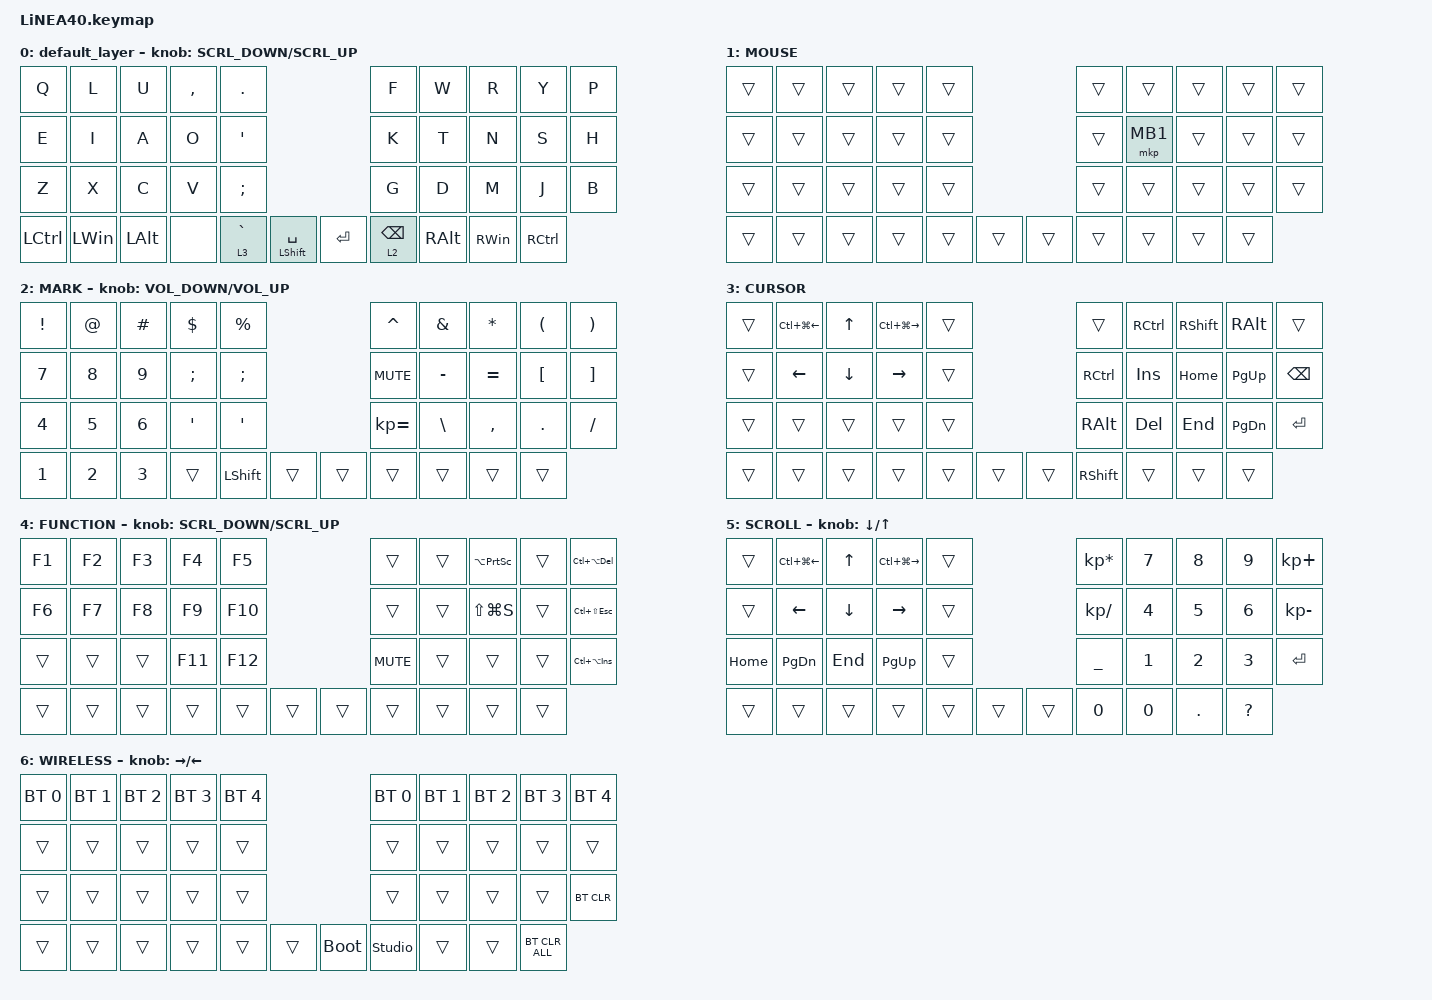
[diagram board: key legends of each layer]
#define ZMK_POINTING_DEFAULT_SCRL_VAL 150

#include <dt-bindings/zmk/input_transform.h>
#include <input/processors.dtsi>
#include <zephyr/dt-bindings/input/input-event-codes.h>
#include <behaviors.dtsi>
#include <dt-bindings/zmk/bt.h>
#include <dt-bindings/zmk/keys.h>
#include <dt-bindings/zmk/pointing.h>

#define MOUSE 1
#define MARK 2
#define CURSOR 3
#define FUNCTION 4
#define SCROLL 5
#define WIRELESS 6

//mouse cursol

&mmv {
    delay-ms = <20>;
    trigger-period-ms = <5>;
    time-to-max-speed-ms = <100>;
    acceleration-exponent = <2>;
};

//mouse scroll

&msc {
    delay-ms = <3>;
    trigger-period-ms = <3>;
    time-to-max-speed-ms = <100>;
    acceleration-exponent = <0>;
};

/ {
    input_processors {
        zip_wheel_scaler: zip_wheel_scaler {
            compatible = "zmk,input-processor-scaler";
            #input-processor-cells = <2>;
            type = <INPUT_EV_REL>;
            codes = <INPUT_REL_WHEEL>;
            track-remainders;
        };
    };
};

&msc_input_listener {
    speed_up {
        layers = <FUNCTION>;
        input-processors = <&zip_wheel_scaler 3 1>; //スクロールを3倍速にする
    };
};

&trackball_listener {
    scroller {
        layers = <SCROLL>;
        input-processors =
            <&zip_xy_transform INPUT_TRANSFORM_Y_INVERT>,
            //スクロール方向を逆転,,,,,,,,
            <&zip_xy_to_scroll_mapper>;
    };
};

/ {
    combos {
        compatible = "zmk,combos";

        DeleteKey {
            bindings = <&kp DEL>;
            key-positions = <7 8>;
        };

        InsertKey {
            bindings = <&kp INS>;
            key-positions = <6 7>;
        };

        CenterClick {
            bindings = <&mkp MB3>;
            key-positions = <17 16>;
        };

        RightClick {
            bindings = <&mkp MB2>;
            key-positions = <18 17>;
        };

        PrevClick {
            bindings = <&mkp MB4>;
            key-positions = <27 28>;
        };

        ClickNext {
            bindings = <&mkp MB5>;
            key-positions = <26 27>;
        };

        escape {
            bindings = <&kp ESCAPE>;
            key-positions = <0 1>;
        };

        tab {
            bindings = <&kp TAB>;
            key-positions = <10 11>;
        };

        lang1 {
            bindings = <&kp LANG1>;
            key-positions = <12 13>;
        };

        lang2 {
            bindings = <&kp LANG2>;
            key-positions = <22 23>;
        };
    };

    behaviors {
        re_kp: sensor_rotate_kp {
            compatible = "zmk,behavior-sensor-rotate-var";
            #sensor-binding-cells = <2>;
            bindings = <&kp>, <&kp>;
        };

        mouse_scrl: mouse_wheel_scrl {
            compatible = "zmk,behavior-sensor-rotate-var";
            #sensor-binding-cells = <2>;
            bindings = <&msc>, <&msc>;

            tap-ms = <20>;
        };
    };

    keymap {
        compatible = "zmk,keymap";

        default_layer {
            bindings = <
&kp Q      &kp L         &kp U         &kp COMMA  &kp PERIOD                                        &kp F            &kp W  &kp R          &kp Y          &kp P
&kp E      &kp I         &kp A         &kp O      &kp SQT                                           &kp K            &kp T  &kp N          &kp S          &kp H
&kp Z      &kp X         &kp C         &kp V      &kp SEMICOLON                                     &kp G            &kp D  &kp M          &kp J          &kp B
&kp LCTRL  &kp LEFT_WIN  &kp LEFT_ALT  &none      &lt 3 GRAVE    &mt LEFT_SHIFT SPACE    &kp ENTER  &lt 2 BACKSPACE         &kp RIGHT_ALT  &kp RIGHT_WIN  &kp RCTRL
            >;

            sensor-bindings = <&mouse_scrl SCRL_DOWN SCRL_UP>;
        };

        //1

        MOUSE {
            bindings = <
&trans  &trans  &trans  &trans  &trans                    &trans  &trans    &trans  &trans  &trans
&trans  &trans  &trans  &trans  &trans                    &trans  &mkp MB1  &trans  &trans  &trans
&trans  &trans  &trans  &trans  &trans                    &trans  &trans    &trans  &trans  &trans
&trans  &trans  &trans  &trans  &trans  &trans    &trans  &trans            &trans  &trans  &trans
            >;
        };

        //2

        MARK {
            bindings = <
&kp EXCLAMATION  &kp AT_SIGN  &kp POUND  &kp DOLLAR     &kp PERCENT                       &kp CARET     &kp AMPERSAND  &kp ASTERISK  &kp LEFT_PARENTHESIS  &kp RIGHT_PARENTHESIS
&kp N7           &kp N8       &kp N9     &kp SEMICOLON  &kp SEMICOLON                     &kp C_MUTE    &kp MINUS      &kp EQUAL     &kp LEFT_BRACKET      &kp RIGHT_BRACKET
&kp N4           &kp N5       &kp N6     &kp APOS       &kp SQT                           &kp KP_EQUAL  &kp BACKSLASH  &kp COMMA     &kp PERIOD            &kp SLASH
&kp NUMBER_1     &kp N2       &kp N3     &trans         &kp LEFT_SHIFT  &trans    &trans  &trans                       &trans        &trans                &trans
            >;

            sensor-bindings = <&re_kp C_VOLUME_DOWN C_VOLUME_UP>;
        };

        //3

        CURSOR {
            bindings = <
&trans  &kp LC(LG(LEFT_ARROW))  &kp UP_ARROW  &kp LC(LG(RIGHT_ARROW))  &trans                    &trans           &kp RCTRL   &kp RIGHT_SHIFT  &kp RIGHT_ALT  &trans
&trans  &kp LEFT_ARROW          &kp DOWN      &kp RIGHT_ARROW          &trans                    &kp RCTRL        &kp INS     &kp HOME         &kp PAGE_UP    &kp BACKSPACE
&trans  &trans                  &trans        &trans                   &trans                    &kp RIGHT_ALT    &kp DELETE  &kp END          &kp PAGE_DOWN  &kp ENTER
&trans  &trans                  &trans        &trans                   &trans  &trans    &trans  &kp RIGHT_SHIFT              &trans           &trans         &trans
            >;
        };

        //4

        FUNCTION {
            bindings = <
&kp F1  &kp F2  &kp F3  &kp F4   &kp F5                     &trans      &trans  &kp LA(PRINTSCREEN)  &trans  &kp LC(LA(DELETE))
&kp F6  &kp F7  &kp F8  &kp F9   &kp F10                    &trans      &trans  &kp LS(LG(S))        &trans  &kp LC(LS(ESCAPE))
&trans  &trans  &trans  &kp F11  &kp F12                    &kp C_MUTE  &trans  &trans               &trans  &kp LC(LA(INS))
&trans  &trans  &trans  &trans   &trans   &trans    &trans  &trans              &trans               &trans  &trans
            >;

            sensor-bindings = <&mouse_scrl SCRL_DOWN SCRL_UP>;
        };

        //5

        SCROLL {
            bindings = <
&trans    &kp LC(LG(LEFT_ARROW))  &kp UP_ARROW  &kp LC(LG(RIGHT_ARROW))  &trans                    &kp KP_MULTIPLY  &kp NUMBER_7  &kp NUMBER_8  &kp NUMBER_9  &kp KP_PLUS
&trans    &kp LEFT_ARROW          &kp DOWN      &kp RIGHT_ARROW          &trans                    &kp KP_SLASH     &kp NUMBER_4  &kp NUMBER_5  &kp NUMBER_6  &kp KP_MINUS
&kp HOME  &kp PAGE_DOWN           &kp END       &kp PAGE_UP              &trans                    &kp UNDER        &kp NUMBER_1  &kp NUMBER_2  &kp NUMBER_3  &kp ENTER
&trans    &trans                  &trans        &trans                   &trans  &trans    &trans  &kp NUMBER_0                   &kp NUMBER_0  &kp DOT       &kp QUESTION
            >;

            sensor-bindings = <&inc_dec_kp DOWN_ARROW UP_ARROW>;
        };

        //6

        WIRELESS {
            bindings = <
&bt BT_SEL 0  &bt BT_SEL 1  &bt BT_SEL 2  &bt BT_SEL 3  &bt BT_SEL 4                         &bt BT_SEL 0    &bt BT_SEL 1  &bt BT_SEL 2  &bt BT_SEL 3  &bt BT_SEL 4
&trans        &trans        &trans        &trans        &trans                               &trans          &trans        &trans        &trans        &trans
&trans        &trans        &trans        &trans        &trans                               &trans          &trans        &trans        &trans        &bt BT_CLR
&trans        &trans        &trans        &trans        &trans        &trans    &bootloader  &studio_unlock                &trans        &trans        &bt BT_CLR_ALL
            >;

            sensor-bindings = <&inc_dec_kp RIGHT_ARROW LEFT_ARROW>;
        };
    };
};
